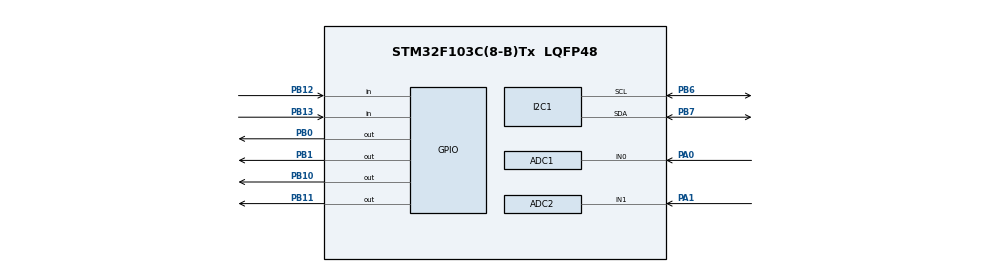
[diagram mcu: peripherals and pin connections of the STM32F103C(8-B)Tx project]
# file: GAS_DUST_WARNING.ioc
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ADC1.Channel-0\#ChannelRegularConversion=ADC_CHANNEL_0
ADC1.NbrOfConversionFlag=1
ADC1.Rank-0\#ChannelRegularConversion=1
ADC1.SamplingTime-0\#ChannelRegularConversion=ADC_SAMPLETIME_1CYCLE_5
ADC1.master=1
ADC2.Channel-1\#ChannelRegularConversion=ADC_CHANNEL_1
ADC2.NbrOfConversionFlag=1
ADC2.Rank-1\#ChannelRegularConversion=1
ADC2.SamplingTime-1\#ChannelRegularConversion=ADC_SAMPLETIME_1CYCLE_5
Mcu.Family=STM32F1
Mcu.Name=STM32F103C(8-B)Tx
Mcu.Package=LQFP48
NVIC.PriorityGroup=NVIC_PRIORITYGROUP_4
NVIC.TIM2_IRQn=true\:0\:0\:false\:false\:true\:true\:true\:true
PA0-WKUP.Signal=ADCx_IN0
PA1.Signal=ADCx_IN1
PA13.Mode=Serial_Wire
PA13.Signal=SYS_JTMS-SWDIO
PA14.Mode=Serial_Wire
PA14.Signal=SYS_JTCK-SWCLK
PB0.Signal=GPIO_Output
PB1.Signal=GPIO_Output
PB10.Signal=GPIO_Output
PB11.Signal=GPIO_Output
PB12.Signal=GPIO_Input
PB13.GPIO_PuPd=GPIO_PULLUP
PB13.Signal=GPIO_Input
PB6.Mode=I2C
PB6.Signal=I2C1_SCL
PB7.Mode=I2C
PB7.Signal=I2C1_SDA
ProjectManager.HeapSize=0x200
ProjectManager.StackSize=0x400
ProjectManager.TargetToolchain=STM32CubeIDE
RCC.APB1Freq_Value=8000000
RCC.APB2Freq_Value=8000000
SH.ADCx_IN0.0=ADC1_IN0,IN0
SH.ADCx_IN1.0=ADC2_IN1,IN1
TIM2.Period=999
TIM2.Prescaler=7199
VP_TIM2_VS_ClockSourceINT.Mode=Internal
board=custom

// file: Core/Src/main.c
/* USER CODE BEGIN Header */
/**
  ******************************************************************************
  * @file           : main.c
  * @brief          : Main program body
  ******************************************************************************
  * @attention
  *
  * Copyright (c) 2025 STMicroelectronics.
  * All rights reserved.
  *
  * This software is licensed under terms that can be found in the LICENSE file
  * in the root directory of this software component.
  * If no LICENSE file comes with this software, it is provided AS-IS.
  *
  ******************************************************************************
  */
/* USER CODE END Header */
#include "main.h"

/* USER CODE BEGIN Includes */
#include <math.h>
#include <stdio.h>
#include "CLCD_I2C.h"
/* USER CODE END Includes */

ADC_HandleTypeDef hadc1;
ADC_HandleTypeDef hadc2;

I2C_HandleTypeDef hi2c1;

TIM_HandleTypeDef htim2;

/* USER CODE BEGIN PV */
#define GP2Y_LED_PIN     GPIO_PIN_12
#define GP2Y_LED_PORT    GPIOB

#define LED_CO2_PIN      GPIO_PIN_0
#define LED_CO2_PORT     GPIOB
#define BUZZ_CO2_PIN     GPIO_PIN_1
#define BUZZ_CO2_PORT    GPIOB
#define LED_DUST_PIN     GPIO_PIN_10
#define LED_DUST_PORT    GPIOB
#define BUZZ_DUST_PIN    GPIO_PIN_11
#define BUZZ_DUST_PORT   GPIOB
#define BUTTON_PORT 	 GPIOB
#define BUTTON_PIN 		 GPIO_PIN_13

uint8_t buzzer_muted = 0;
uint8_t mute_timer_active = 0;
uint8_t mute_seconds = 0;

#define CO2_THRESHOLD 1000.0f
#define DUST_THRESHOLD 20.0f
/* USER CODE END PV */

void SystemClock_Config(void);
static void MX_GPIO_Init(void);
static void MX_ADC1_Init(void);
static void MX_ADC2_Init(void);
static void MX_I2C1_Init(void);
static void MX_TIM2_Init(void);
/* USER CODE BEGIN PFP */
void DWT_Delay_Init(void);
void HAL_DelayMicroseconds(uint32_t us);
void Error_Handler(void);
/* USER CODE END PFP */

/* USER CODE BEGIN 0 */
float Read_MQ135_CO2(void);
float Read_GP2Y1014(void);

CLCD_I2C_Name LCD1;
/* USER CODE END 0 */

int main(void)
{

  /* MCU Configuration--------------------------------------------------------*/

  /* Reset of all peripherals, Initializes the Flash interface and the Systick. */
  HAL_Init();

  /* Configure the system clock */
  SystemClock_Config();

  /* Initialize all configured peripherals */
  MX_GPIO_Init();
  MX_ADC1_Init();
  MX_ADC2_Init();
  MX_I2C1_Init();
  MX_TIM2_Init();
  /* USER CODE BEGIN 2 */
  HAL_TIM_Base_Start_IT(&htim2);
  DWT_Delay_Init();
  HAL_Delay(300);
  CLCD_I2C_Init(&LCD1, &hi2c1, 0x27 << 1, 16, 2);
  CLCD_I2C_Clear(&LCD1);

  float co2_ppm = 0;
  float dust_mg = 0;
  char line[20];
  /* USER CODE END 2 */

  /* Infinite loop */
  while (1)
  {

    /* USER CODE BEGIN 3 */
	    co2_ppm = Read_MQ135_CO2();
	    dust_mg = Read_GP2Y1014();

	    CLCD_I2C_SetCursor(&LCD1, 0, 0);
	    sprintf(line, "CO2: %.1fppm", co2_ppm);
	    CLCD_I2C_WriteString(&LCD1, line);

	    CLCD_I2C_SetCursor(&LCD1, 0, 1);
	    sprintf(line, "Dust: %.1fmg/m3", dust_mg);
	    CLCD_I2C_WriteString(&LCD1, line);

	    if (HAL_GPIO_ReadPin(BUTTON_PORT, BUTTON_PIN) == GPIO_PIN_RESET && !buzzer_muted)
	    {
	        HAL_Delay(50);
	        if (HAL_GPIO_ReadPin(BUTTON_PORT, BUTTON_PIN) == GPIO_PIN_RESET)
	        {
	            buzzer_muted = 1;
	            mute_timer_active = 1;
	            mute_seconds = 0;

	            HAL_GPIO_WritePin(BUZZ_CO2_PORT, BUZZ_CO2_PIN, GPIO_PIN_RESET);
	            HAL_GPIO_WritePin(BUZZ_DUST_PORT, BUZZ_DUST_PIN, GPIO_PIN_RESET);
	        }
	    }

	    if (!buzzer_muted)
	    {
	        if (co2_ppm > CO2_THRESHOLD)
	        {
	            HAL_GPIO_WritePin(LED_CO2_PORT, LED_CO2_PIN, GPIO_PIN_SET);
	            HAL_GPIO_WritePin(BUZZ_CO2_PORT, BUZZ_CO2_PIN, GPIO_PIN_SET);
	        }
	        else
	        {
	            HAL_GPIO_WritePin(LED_CO2_PORT, LED_CO2_PIN, GPIO_PIN_RESET);
	            HAL_GPIO_WritePin(BUZZ_CO2_PORT, BUZZ_CO2_PIN, GPIO_PIN_RESET);
	        }

	        if (dust_mg > DUST_THRESHOLD)
	        {
	            HAL_GPIO_WritePin(LED_DUST_PORT, LED_DUST_PIN, GPIO_PIN_SET);
	            HAL_GPIO_WritePin(BUZZ_DUST_PORT, BUZZ_DUST_PIN, GPIO_PIN_SET);
	        }
	        else
	        {
	            HAL_GPIO_WritePin(LED_DUST_PORT, LED_DUST_PIN, GPIO_PIN_RESET);
	            HAL_GPIO_WritePin(BUZZ_DUST_PORT, BUZZ_DUST_PIN, GPIO_PIN_RESET);
	        }
	    }
	    else
	    {
	        HAL_GPIO_WritePin(BUZZ_CO2_PORT, BUZZ_CO2_PIN, GPIO_PIN_RESET);
	        HAL_GPIO_WritePin(BUZZ_DUST_PORT, BUZZ_DUST_PIN, GPIO_PIN_RESET);

	        if (co2_ppm > CO2_THRESHOLD)
	            HAL_GPIO_WritePin(LED_CO2_PORT, LED_CO2_PIN, GPIO_PIN_SET);
	        else
	            HAL_GPIO_WritePin(LED_CO2_PORT, LED_CO2_PIN, GPIO_PIN_RESET);

	        if (dust_mg > DUST_THRESHOLD)
	            HAL_GPIO_WritePin(LED_DUST_PORT, LED_DUST_PIN, GPIO_PIN_SET);
	        else
	            HAL_GPIO_WritePin(LED_DUST_PORT, LED_DUST_PIN, GPIO_PIN_RESET);
	    }

	    HAL_Delay(1000);
  }
  /* USER CODE END 3 */
}

void SystemClock_Config(void)
{
  RCC_OscInitTypeDef RCC_OscInitStruct = {0};
  RCC_ClkInitTypeDef RCC_ClkInitStruct = {0};
  RCC_PeriphCLKInitTypeDef PeriphClkInit = {0};

  /** Initializes the RCC Oscillators according to the specified parameters
  * in the RCC_OscInitTypeDef structure.
  */
  RCC_OscInitStruct.OscillatorType = RCC_OSCILLATORTYPE_HSI;
  RCC_OscInitStruct.HSIState = RCC_HSI_ON;
  RCC_OscInitStruct.HSICalibrationValue = RCC_HSICALIBRATION_DEFAULT;
  RCC_OscInitStruct.PLL.PLLState = RCC_PLL_NONE;
  if (HAL_RCC_OscConfig(&RCC_OscInitStruct) != HAL_OK)
  {
    Error_Handler();
  }

  /** Initializes the CPU, AHB and APB buses clocks
  */
  RCC_ClkInitStruct.ClockType = RCC_CLOCKTYPE_HCLK|RCC_CLOCKTYPE_SYSCLK
                              |RCC_CLOCKTYPE_PCLK1|RCC_CLOCKTYPE_PCLK2;
  RCC_ClkInitStruct.SYSCLKSource = RCC_SYSCLKSOURCE_HSI;
  RCC_ClkInitStruct.AHBCLKDivider = RCC_SYSCLK_DIV1;
  RCC_ClkInitStruct.APB1CLKDivider = RCC_HCLK_DIV1;
  RCC_ClkInitStruct.APB2CLKDivider = RCC_HCLK_DIV1;

  if (HAL_RCC_ClockConfig(&RCC_ClkInitStruct, FLASH_LATENCY_0) != HAL_OK)
  {
    Error_Handler();
  }
  PeriphClkInit.PeriphClockSelection = RCC_PERIPHCLK_ADC;
  PeriphClkInit.AdcClockSelection = RCC_ADCPCLK2_DIV2;
  if (HAL_RCCEx_PeriphCLKConfig(&PeriphClkInit) != HAL_OK)
  {
    Error_Handler();
  }
}

static void MX_ADC1_Init(void)
{

  ADC_ChannelConfTypeDef sConfig = {0};

  /** Common config
  */
  hadc1.Instance = ADC1;
  hadc1.Init.ScanConvMode = ADC_SCAN_DISABLE;
  hadc1.Init.ContinuousConvMode = DISABLE;
  hadc1.Init.DiscontinuousConvMode = DISABLE;
  hadc1.Init.ExternalTrigConv = ADC_SOFTWARE_START;
  hadc1.Init.DataAlign = ADC_DATAALIGN_RIGHT;
  hadc1.Init.NbrOfConversion = 1;
  if (HAL_ADC_Init(&hadc1) != HAL_OK)
  {
    Error_Handler();
  }

  /** Configure Regular Channel
  */
  sConfig.Channel = ADC_CHANNEL_0;
  sConfig.Rank = ADC_REGULAR_RANK_1;
  sConfig.SamplingTime = ADC_SAMPLETIME_1CYCLE_5;
  if (HAL_ADC_ConfigChannel(&hadc1, &sConfig) != HAL_OK)
  {
    Error_Handler();
  }

}

static void MX_ADC2_Init(void)
{

  ADC_ChannelConfTypeDef sConfig = {0};

  /** Common config
  */
  hadc2.Instance = ADC2;
  hadc2.Init.ScanConvMode = ADC_SCAN_DISABLE;
  hadc2.Init.ContinuousConvMode = DISABLE;
  hadc2.Init.DiscontinuousConvMode = DISABLE;
  hadc2.Init.ExternalTrigConv = ADC_SOFTWARE_START;
  hadc2.Init.DataAlign = ADC_DATAALIGN_RIGHT;
  hadc2.Init.NbrOfConversion = 1;
  if (HAL_ADC_Init(&hadc2) != HAL_OK)
  {
    Error_Handler();
  }

  /** Configure Regular Channel
  */
  sConfig.Channel = ADC_CHANNEL_1;
  sConfig.Rank = ADC_REGULAR_RANK_1;
  sConfig.SamplingTime = ADC_SAMPLETIME_1CYCLE_5;
  if (HAL_ADC_ConfigChannel(&hadc2, &sConfig) != HAL_OK)
  {
    Error_Handler();
  }

}

static void MX_I2C1_Init(void)
{

  hi2c1.Instance = I2C1;
  hi2c1.Init.ClockSpeed = 100000;
  hi2c1.Init.DutyCycle = I2C_DUTYCYCLE_2;
  hi2c1.Init.OwnAddress1 = 0;
  hi2c1.Init.AddressingMode = I2C_ADDRESSINGMODE_7BIT;
  hi2c1.Init.DualAddressMode = I2C_DUALADDRESS_DISABLE;
  hi2c1.Init.OwnAddress2 = 0;
  hi2c1.Init.GeneralCallMode = I2C_GENERALCALL_DISABLE;
  hi2c1.Init.NoStretchMode = I2C_NOSTRETCH_DISABLE;
  if (HAL_I2C_Init(&hi2c1) != HAL_OK)
  {
    Error_Handler();
  }

}

static void MX_TIM2_Init(void)
{

  TIM_ClockConfigTypeDef sClockSourceConfig = {0};
  TIM_MasterConfigTypeDef sMasterConfig = {0};

  htim2.Instance = TIM2;
  htim2.Init.Prescaler = 7199;
  htim2.Init.CounterMode = TIM_COUNTERMODE_UP;
  htim2.Init.Period = 999;
  htim2.Init.ClockDivision = TIM_CLOCKDIVISION_DIV1;
  htim2.Init.AutoReloadPreload = TIM_AUTORELOAD_PRELOAD_DISABLE;
  if (HAL_TIM_Base_Init(&htim2) != HAL_OK)
  {
    Error_Handler();
  }
  sClockSourceConfig.ClockSource = TIM_CLOCKSOURCE_INTERNAL;
  if (HAL_TIM_ConfigClockSource(&htim2, &sClockSourceConfig) != HAL_OK)
  {
    Error_Handler();
  }
  sMasterConfig.MasterOutputTrigger = TIM_TRGO_RESET;
  sMasterConfig.MasterSlaveMode = TIM_MASTERSLAVEMODE_DISABLE;
  if (HAL_TIMEx_MasterConfigSynchronization(&htim2, &sMasterConfig) != HAL_OK)
  {
    Error_Handler();
  }

}

static void MX_GPIO_Init(void)
{
  GPIO_InitTypeDef GPIO_InitStruct = {0};

  /* GPIO Ports Clock Enable */
  __HAL_RCC_GPIOA_CLK_ENABLE();
  __HAL_RCC_GPIOB_CLK_ENABLE();

  /*Configure GPIO pin Output Level */
  HAL_GPIO_WritePin(GPIOB, GPIO_PIN_0|GPIO_PIN_1|GPIO_PIN_10|GPIO_PIN_11, GPIO_PIN_RESET);

  /*Configure GPIO pins : PB0 PB1 PB10 PB11 */
  GPIO_InitStruct.Pin = GPIO_PIN_0|GPIO_PIN_1|GPIO_PIN_10|GPIO_PIN_11;
  GPIO_InitStruct.Mode = GPIO_MODE_OUTPUT_PP;
  GPIO_InitStruct.Pull = GPIO_NOPULL;
  GPIO_InitStruct.Speed = GPIO_SPEED_FREQ_LOW;
  HAL_GPIO_Init(GPIOB, &GPIO_InitStruct);

  /*Configure GPIO pin : PB12 */
  GPIO_InitStruct.Pin = GPIO_PIN_12;
  GPIO_InitStruct.Mode = GPIO_MODE_INPUT;
  GPIO_InitStruct.Pull = GPIO_NOPULL;
  HAL_GPIO_Init(GPIOB, &GPIO_InitStruct);

  /*Configure GPIO pin : PB13 */
  GPIO_InitStruct.Pin = GPIO_PIN_13;
  GPIO_InitStruct.Mode = GPIO_MODE_INPUT;
  GPIO_InitStruct.Pull = GPIO_PULLUP;
  HAL_GPIO_Init(GPIOB, &GPIO_InitStruct);

}

/* USER CODE BEGIN 4 */
float Read_MQ135_CO2(void)
{
  const float RLOAD = 10000.0f;
  const float VCC = 5.0f;
  const float PARA = 116.6020682f;
  const float PARB = 2.769034857f;
  const float R0 = 76630.0f;

  HAL_ADC_Start(&hadc1);
  HAL_ADC_PollForConversion(&hadc1, HAL_MAX_DELAY);
  uint16_t adcValue = HAL_ADC_GetValue(&hadc1);
  HAL_ADC_Stop(&hadc1);

  float v_out = (adcValue / 4095.0f) * 3.3f;
  float v_sensor = v_out * (VCC / 3.3f);
  if (v_sensor < 0.001f) v_sensor = 0.001f;

  float Rs = ((VCC - v_sensor) / v_sensor) * RLOAD;
  float ratio = Rs / R0;
  float ppm = PARA * powf(ratio, -PARB);

  return ppm;
}

float Read_GP2Y1014(void)
{
  const float V0 = 0.6f;
  const float K = 0.005f;
  const int N_AVG = 10;
  float v_total = 0;

  for (int i = 0; i < N_AVG; i++)
  {
    HAL_GPIO_WritePin(GP2Y_LED_PORT, GP2Y_LED_PIN, GPIO_PIN_RESET);
    HAL_DelayMicroseconds(280);

    HAL_ADC_Start(&hadc2);
    HAL_ADC_PollForConversion(&hadc2, HAL_MAX_DELAY);
    uint16_t adcVal = HAL_ADC_GetValue(&hadc2);
    HAL_ADC_Stop(&hadc2);

    HAL_GPIO_WritePin(GP2Y_LED_PORT, GP2Y_LED_PIN, GPIO_PIN_SET);
    HAL_DelayMicroseconds(9620);

    float voltage = (adcVal / 4095.0f) * 3.3f;
    v_total += voltage;
  }

  float v_avg = v_total / N_AVG;
  float dV = v_avg - V0;
  if (dV < 0) dV = 0;

  float density = (dV / K) * 100.0f;
  density = density / 1000.0f;
  return density;
}

void HAL_TIM_PeriodElapsedCallback(TIM_HandleTypeDef *htim)
{
    if (htim->Instance == TIM2)
    {
        if (mute_timer_active)
        {
            mute_seconds++;
            if (mute_seconds >= 10)
            {
                buzzer_muted = 0;
                mute_timer_active = 0;
            }
        }
    }
}

void DWT_Delay_Init(void)
{
  CoreDebug->DEMCR |= CoreDebug_DEMCR_TRCENA_Msk;
  DWT->CYCCNT = 0;
  DWT->CTRL |= DWT_CTRL_CYCCNTENA_Msk;
}

void HAL_DelayMicroseconds(uint32_t us)
{
  uint32_t start = DWT->CYCCNT;
  uint32_t ticks = us * (SystemCoreClock / 1000000);
  while ((DWT->CYCCNT - start) < ticks);
}
/* USER CODE END 4 */

void Error_Handler(void)
{
  __disable_irq();
  while (1)
  {
  }
}
